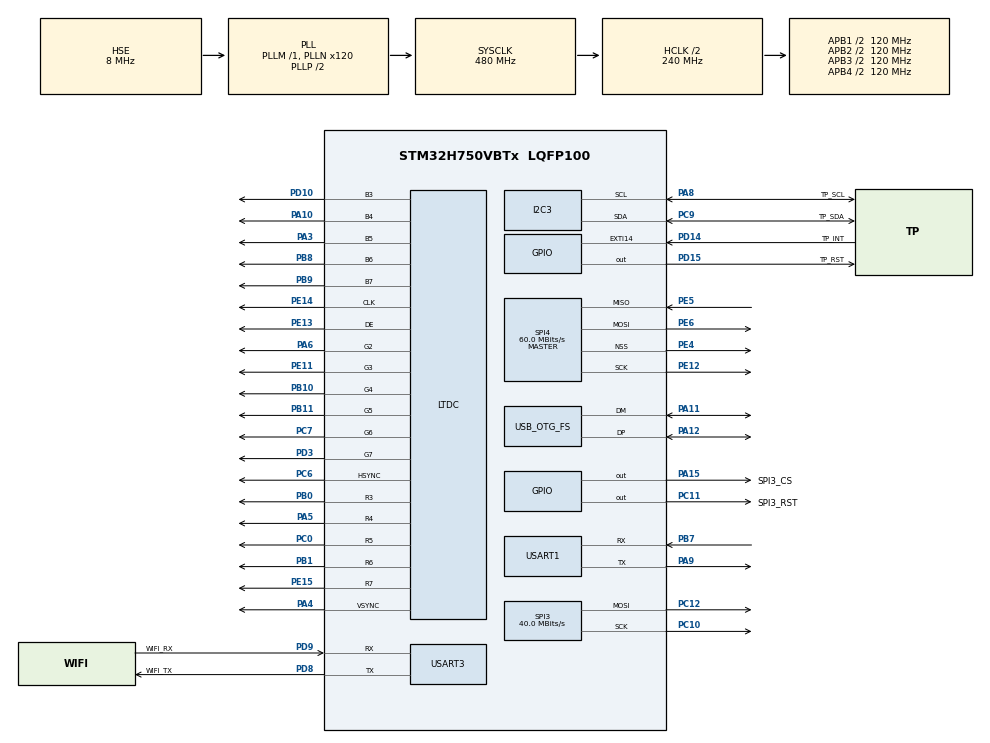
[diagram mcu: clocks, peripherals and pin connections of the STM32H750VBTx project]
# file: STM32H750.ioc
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CORTEX_M7.AccessPermission_S-Cortex_Memory_Protection_Unit_Region1_Settings_S=MPU_REGION_PRIV_RO
CORTEX_M7.BaseAddress_S-Cortex_Memory_Protection_Unit_Region1_Settings_S=0x08000000
CORTEX_M7.Enable_S-Cortex_Memory_Protection_Unit_Region1_Settings_S=MPU_REGION_ENABLE
CORTEX_M7.IsCacheable_S-Cortex_Memory_Protection_Unit_Region1_Settings_S=MPU_ACCESS_CACHEABLE
CORTEX_M7.Number_S-Cortex_Memory_Protection_Unit_Region2_Settings_S=MPU_REGION_NUMBER2
CORTEX_M7.Size_S-Cortex_Memory_Protection_Unit_Region1_Settings_S=MPU_REGION_SIZE_128KB
CORTEX_M7.TypeExtField_S-Cortex_Memory_Protection_Unit_Region1_Settings_S=MPU_TEX_LEVEL1
CORTEX_M7.default_mode_Activation=1
DMA2D.ColorMode=DMA2D_OUTPUT_RGB565
I2C3.Timing=0x307075B1
LTDC.ActiveW=480
LTDC.Alpha_L0=255
LTDC.DEPolarity=LTDC_DEPOLARITY_AL
LTDC.FBStartAdress_L0=0
LTDC.HBP=50
LTDC.HFP=10
LTDC.ImageHeight_L0=480
LTDC.ImageWidth_L0=480
LTDC.Layers=0
LTDC.PixelFormat_L0=LTDC_PIXEL_FORMAT_RGB565
LTDC.VBP=20
LTDC.VFP=10
LTDC.VSync=8
Mcu.Family=STM32H7
Mcu.Name=STM32H750VBTx
Mcu.Package=LQFP100
NVIC.EXTI15_10_IRQn=true\:0\:0\:false\:false\:true\:true\:true\:true
NVIC.I2C3_EV_IRQn=true\:0\:0\:false\:false\:true\:true\:true\:true
NVIC.LTDC_ER_IRQn=true\:5\:0\:true\:false\:true\:true\:true\:true
NVIC.LTDC_IRQn=true\:5\:0\:true\:false\:true\:true\:true\:true
NVIC.OTG_FS_IRQn=true\:0\:0\:false\:false\:true\:false\:true\:true
NVIC.PriorityGroup=NVIC_PRIORITYGROUP_4
NVIC.SPI4_IRQn=true\:0\:0\:false\:false\:true\:true\:true\:true
NVIC.USART1_IRQn=true\:0\:0\:false\:false\:true\:true\:true\:true
NVIC.USART3_IRQn=true\:0\:0\:false\:false\:true\:true\:true\:true
PA10.GPIO_Speed=GPIO_SPEED_FREQ_VERY_HIGH
PA10.Mode=RGB565
PA10.Signal=LTDC_B4
PA11.Mode=Device_Only
PA11.Signal=USB_OTG_FS_DM
PA12.Mode=Device_Only
PA12.Signal=USB_OTG_FS_DP
PA15\ (JTDI).GPIO_Label=SPI3_CS
PA15\ (JTDI).Signal=GPIO_Output
PA3.GPIO_Speed=GPIO_SPEED_FREQ_VERY_HIGH
PA3.Mode=RGB565
PA3.Signal=LTDC_B5
PA4.GPIO_Speed=GPIO_SPEED_FREQ_VERY_HIGH
PA4.Mode=RGB565
PA4.Signal=LTDC_VSYNC
PA5.GPIO_Speed=GPIO_SPEED_FREQ_VERY_HIGH
PA5.Mode=RGB565
PA5.Signal=LTDC_R4
PA6.GPIO_Speed=GPIO_SPEED_FREQ_VERY_HIGH
PA6.Mode=RGB565
PA6.Signal=LTDC_G2
PA8.GPIO_Label=TP_SCL
PA8.Mode=I2C
PA8.Signal=I2C3_SCL
PA9.GPIO_Speed=GPIO_SPEED_FREQ_VERY_HIGH
PA9.Mode=Asynchronous
PA9.Signal=USART1_TX
PB0.GPIO_Speed=GPIO_SPEED_FREQ_VERY_HIGH
PB0.Mode=RGB565
PB0.Signal=LTDC_R3
PB1.GPIO_Speed=GPIO_SPEED_FREQ_VERY_HIGH
PB1.Mode=RGB565
PB1.Signal=LTDC_R6
PB10.GPIO_Speed=GPIO_SPEED_FREQ_VERY_HIGH
PB10.Mode=RGB565
PB10.Signal=LTDC_G4
PB11.GPIO_Speed=GPIO_SPEED_FREQ_VERY_HIGH
PB11.Mode=RGB565
PB11.Signal=LTDC_G5
PB14.Signal=SDMMC2_D0
PB15.Signal=SDMMC2_D1
PB3\ (JTDO/TRACESWO).Signal=SDMMC2_D2
PB4\ (NJTRST).Signal=SDMMC2_D3
PB7.GPIO_Speed=GPIO_SPEED_FREQ_VERY_HIGH
PB7.Mode=Asynchronous
PB7.Signal=USART1_RX
PB8.GPIO_Speed=GPIO_SPEED_FREQ_VERY_HIGH
PB8.Mode=RGB565
PB8.Signal=LTDC_B6
PB9.GPIO_Speed=GPIO_SPEED_FREQ_VERY_HIGH
PB9.Mode=RGB565
PB9.Signal=LTDC_B7
PC0.GPIO_Speed=GPIO_SPEED_FREQ_VERY_HIGH
PC0.Mode=RGB565
PC0.Signal=LTDC_R5
PC1.Signal=SDMMC2_CK
PC10.Mode=TX_Only_Simplex_Unidirect_Master
PC10.Signal=SPI3_SCK
PC11.GPIO_Label=SPI3_RST
PC11.Signal=GPIO_Output
PC12.Mode=TX_Only_Simplex_Unidirect_Master
PC12.Signal=SPI3_MOSI
PC6.GPIO_Speed=GPIO_SPEED_FREQ_VERY_HIGH
PC6.Mode=RGB565
PC6.Signal=LTDC_HSYNC
PC7.GPIO_Speed=GPIO_SPEED_FREQ_VERY_HIGH
PC7.Mode=RGB565
PC7.Signal=LTDC_G6
PC9.GPIO_Label=TP_SDA
PC9.Mode=I2C
PC9.Signal=I2C3_SDA
PD10.GPIO_Speed=GPIO_SPEED_FREQ_VERY_HIGH
PD10.Mode=RGB565
PD10.Signal=LTDC_B3
PD14.GPIO_Label=TP_INT
PD14.Signal=GPXTI14
PD15.GPIO_Label=TP_RST
PD15.Signal=GPIO_Output
PD3.GPIO_Speed=GPIO_SPEED_FREQ_VERY_HIGH
PD3.Mode=RGB565
PD3.Signal=LTDC_G7
PD7.Signal=SDMMC2_CMD
PD8.GPIO_Label=WIFI_TX
PD8.GPIO_Speed=GPIO_SPEED_FREQ_VERY_HIGH
PD8.Mode=Asynchronous
PD8.Signal=USART3_TX
PD9.GPIO_Label=WIFI_RX
PD9.GPIO_Speed=GPIO_SPEED_FREQ_VERY_HIGH
PD9.Mode=Asynchronous
PD9.Signal=USART3_RX
PE11.GPIO_Speed=GPIO_SPEED_FREQ_VERY_HIGH
PE11.Mode=RGB565
PE11.Signal=LTDC_G3
PE12.Mode=Full_Duplex_Master
PE12.Signal=SPI4_SCK
PE13.GPIO_Speed=GPIO_SPEED_FREQ_VERY_HIGH
PE13.Mode=RGB565
PE13.Signal=LTDC_DE
PE14.GPIO_Speed=GPIO_SPEED_FREQ_VERY_HIGH
PE14.Mode=RGB565
PE14.Signal=LTDC_CLK
PE15.GPIO_Speed=GPIO_SPEED_FREQ_VERY_HIGH
PE15.Mode=RGB565
PE15.Signal=LTDC_R7
PE4.Mode=NSS_Signal_Hard_Output
PE4.Signal=SPI4_NSS
PE5.Mode=Full_Duplex_Master
PE5.Signal=SPI4_MISO
PE6.Mode=Full_Duplex_Master
PE6.Signal=SPI4_MOSI
PH0-OSC_IN\ (PH0).Mode=HSE-External-Oscillator
PH0-OSC_IN\ (PH0).Signal=RCC_OSC_IN
PH1-OSC_OUT\ (PH1).Mode=HSE-External-Oscillator
PH1-OSC_OUT\ (PH1).Signal=RCC_OSC_OUT
ProjectManager.HeapSize=0x200
ProjectManager.StackSize=0x400
ProjectManager.TargetToolchain=STM32CubeIDE
RCC.ADCFreq_Value=160000000
RCC.APB1Freq_Value=120000000
RCC.APB2Freq_Value=120000000
RCC.APB3Freq_Value=120000000
RCC.APB4Freq_Value=120000000
RCC.CortexFreq_Value=480000000
RCC.D1PPRE=RCC_APB3_DIV2
RCC.D2PPRE1=RCC_APB1_DIV2
RCC.D2PPRE2=RCC_APB2_DIV2
RCC.D3PPRE=RCC_APB4_DIV2
RCC.DIVM1=1
RCC.DIVM2=1
RCC.DIVM3=1
RCC.DIVN1=120
RCC.DIVN2=20
RCC.DIVN3=20
RCC.DIVP2=1
RCC.DIVQ1=4
RCC.HCLKFreq_Value=240000000
RCC.HPRE=RCC_HCLK_DIV2
RCC.HSE_VALUE=8000000
RCC.PLL2FRACN=0
RCC.PLL3FRACN=0
RCC.PLLFRACN=0
RCC.PLLSourceVirtual=RCC_PLLSOURCE_HSE
RCC.SPI123CLockSelection=RCC_SPI123CLKSOURCE_PLL2
RCC.SYSCLKFreq_VALUE=480000000
RCC.SYSCLKSource=RCC_SYSCLKSOURCE_PLLCLK
RCC.USBCLockSelection=RCC_USBCLKSOURCE_HSI48
RCC.USBFreq_Value=48000000
SPI3.BaudRatePrescaler=SPI_BAUDRATEPRESCALER_4
SPI3.CalculateBaudRate=40.0 MBits/s
SPI3.DataSize=SPI_DATASIZE_9BIT
SPI3.Direction=SPI_DIRECTION_2LINES_TXONLY
SPI3.Mode=SPI_MODE_MASTER
SPI3.VirtualType=VM_MASTER
SPI4.CalculateBaudRate=60.0 MBits/s
SPI4.Direction=SPI_DIRECTION_2LINES
SPI4.Mode=SPI_MODE_MASTER
SPI4.VirtualNSS=VM_NSSHARD
SPI4.VirtualType=VM_MASTER
TIM6.AutoReloadPreload=TIM_AUTORELOAD_PRELOAD_ENABLE
TIM6.Period=1000
TIM6.Prescaler=480-1
USART1.VirtualMode-Asynchronous=VM_ASYNC
USART3.VirtualMode-Asynchronous=VM_ASYNC
USB_DEVICE.CLASS_NAME_FS=CDC
USB_DEVICE.VirtualMode-CDC_FS=Cdc
USB_DEVICE.VirtualModeFS=Cdc_FS
USB_OTG_FS.VirtualMode=Device_Only
VP_DMA2D_VS_DMA2D.Mode=DMA2D_Activate
VP_MEMORYMAP_VS_MEMORYMAP.Mode=CurAppReg
VP_RNG_VS_RNG.Mode=RNG_Activate
VP_TIM6_VS_ClockSourceINT.Mode=Enable_Timer
VP_USB_DEVICE_VS_USB_DEVICE_CDC_FS.Mode=CDC_FS
board=custom

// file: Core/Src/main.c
/* USER CODE BEGIN Header */
/**
  ******************************************************************************
  * @file           : main.c
  * @brief          : Main program body
  ******************************************************************************
  * @attention
  *
  * Copyright (c) 2025 STMicroelectronics.
  * All rights reserved.
  *
  * This software is licensed under terms that can be found in the LICENSE file
  * in the root directory of this software component.
  * If no LICENSE file comes with this software, it is provided AS-IS.
  *
  ******************************************************************************
  */
/* USER CODE END Header */
#include "main.h"
#include "dma2d.h"
#include "i2c.h"
#include "ltdc.h"
#include "memorymap.h"
#include "rng.h"
#include "spi.h"
#include "tim.h"
#include "usart.h"
#include "usb_device.h"
#include "gpio.h"

/* USER CODE BEGIN Includes */
#include "Retarget.h"
#include "gt911.h"
#include "lcd.h"
#include "st7701.h"
/* USER CODE END Includes */

void SystemClock_Config(void);
static void MPU_Config(void);

int main(void)
{

  /* MPU Configuration--------------------------------------------------------*/
  MPU_Config();

  /* MCU Configuration--------------------------------------------------------*/

  /* Reset of all peripherals, Initializes the Flash interface and the Systick. */
  HAL_Init();

  /* Configure the system clock */
  SystemClock_Config();

  /* Initialize all configured peripherals */
  MX_GPIO_Init();
  MX_DMA2D_Init();
  MX_LTDC_Init();
  MX_SPI3_Init();
  MX_SPI4_Init();
  MX_USART1_UART_Init();
  MX_USB_DEVICE_Init();
  MX_I2C3_Init();
  MX_USART3_UART_Init();
  MX_TIM6_Init();
  MX_RNG_Init();
  /* USER CODE BEGIN 2 */

  RetargetInit(&huart1);
  printf("[SYS] UART ready\r\n");
  printf("Hello STM32H7!\r\n");

  printf("[LCD] ST7701 init...\r\n");
  if (!st7701Init())
  {
    printf("[LCD][ERROR] ST7701 init failed\r\n");
    Error_Handler();
  }
  printf("[LCD] ST7701 init done\r\n");

  printf("[TP] GT911 init...\r\n");
  if (!gt911Init())
  {
    printf("[TP][ERROR] GT911 init failed\r\n");
  }
  else
  {
    printf("[TP] GT911 init done\r\n");
  }

  printf("[LTDC] Framebuffer @%p\r\n", ltdc_lcd_framebuf);
  // HAL_LTDC_SetAddress(&hltdc, (uint32_t) ltdc_lcd_framebuf, 0);
  // HAL_LTDC_SetWindowPosition(&hltdc, 0, 0, 0);
  // HAL_LTDC_SetWindowSize(&hltdc, 480, 480, 0);
  printf("[LTDC] Window configured 480x480\r\n");

  printf("[LCD] Clearing screen...\r\n");
  // LCD_Clear(RED);
  printf("[LCD] Clear complete\r\n");

  /* USER CODE END 2 */

  /* Infinite loop */
  while (1)
  {

  }
}

void SystemClock_Config(void)
{
  RCC_OscInitTypeDef RCC_OscInitStruct = {0};
  RCC_ClkInitTypeDef RCC_ClkInitStruct = {0};

  /** Supply configuration update enable
  */
  HAL_PWREx_ConfigSupply(PWR_LDO_SUPPLY);

  /** Configure the main internal regulator output voltage
  */
  __HAL_PWR_VOLTAGESCALING_CONFIG(PWR_REGULATOR_VOLTAGE_SCALE0);

  while(!__HAL_PWR_GET_FLAG(PWR_FLAG_VOSRDY)) {}

  /** Initializes the RCC Oscillators according to the specified parameters
  * in the RCC_OscInitTypeDef structure.
  */
  RCC_OscInitStruct.OscillatorType = RCC_OSCILLATORTYPE_HSI48|RCC_OSCILLATORTYPE_HSE;
  RCC_OscInitStruct.HSEState = RCC_HSE_ON;
  RCC_OscInitStruct.HSI48State = RCC_HSI48_ON;
  RCC_OscInitStruct.PLL.PLLState = RCC_PLL_ON;
  RCC_OscInitStruct.PLL.PLLSource = RCC_PLLSOURCE_HSE;
  RCC_OscInitStruct.PLL.PLLM = 1;
  RCC_OscInitStruct.PLL.PLLN = 120;
  RCC_OscInitStruct.PLL.PLLP = 2;
  RCC_OscInitStruct.PLL.PLLQ = 4;
  RCC_OscInitStruct.PLL.PLLR = 2;
  RCC_OscInitStruct.PLL.PLLRGE = RCC_PLL1VCIRANGE_3;
  RCC_OscInitStruct.PLL.PLLVCOSEL = RCC_PLL1VCOWIDE;
  RCC_OscInitStruct.PLL.PLLFRACN = 0;
  if (HAL_RCC_OscConfig(&RCC_OscInitStruct) != HAL_OK)
  {
    Error_Handler();
  }

  /** Initializes the CPU, AHB and APB buses clocks
  */
  RCC_ClkInitStruct.ClockType = RCC_CLOCKTYPE_HCLK|RCC_CLOCKTYPE_SYSCLK
                              |RCC_CLOCKTYPE_PCLK1|RCC_CLOCKTYPE_PCLK2
                              |RCC_CLOCKTYPE_D3PCLK1|RCC_CLOCKTYPE_D1PCLK1;
  RCC_ClkInitStruct.SYSCLKSource = RCC_SYSCLKSOURCE_PLLCLK;
  RCC_ClkInitStruct.SYSCLKDivider = RCC_SYSCLK_DIV1;
  RCC_ClkInitStruct.AHBCLKDivider = RCC_HCLK_DIV2;
  RCC_ClkInitStruct.APB3CLKDivider = RCC_APB3_DIV2;
  RCC_ClkInitStruct.APB1CLKDivider = RCC_APB1_DIV2;
  RCC_ClkInitStruct.APB2CLKDivider = RCC_APB2_DIV2;
  RCC_ClkInitStruct.APB4CLKDivider = RCC_APB4_DIV2;

  if (HAL_RCC_ClockConfig(&RCC_ClkInitStruct, FLASH_LATENCY_4) != HAL_OK)
  {
    Error_Handler();
  }
}

 /* MPU Configuration */

void MPU_Config(void)
{
  MPU_Region_InitTypeDef MPU_InitStruct = {0};

  /* Disables the MPU */
  HAL_MPU_Disable();

  /** Initializes and configures the Region and the memory to be protected
  */
  MPU_InitStruct.Enable = MPU_REGION_ENABLE;
  MPU_InitStruct.Number = MPU_REGION_NUMBER0;
  MPU_InitStruct.BaseAddress = 0x0;
  MPU_InitStruct.Size = MPU_REGION_SIZE_4GB;
  MPU_InitStruct.SubRegionDisable = 0x87;
  MPU_InitStruct.TypeExtField = MPU_TEX_LEVEL0;
  MPU_InitStruct.AccessPermission = MPU_REGION_NO_ACCESS;
  MPU_InitStruct.DisableExec = MPU_INSTRUCTION_ACCESS_DISABLE;
  MPU_InitStruct.IsShareable = MPU_ACCESS_SHAREABLE;
  MPU_InitStruct.IsCacheable = MPU_ACCESS_NOT_CACHEABLE;
  MPU_InitStruct.IsBufferable = MPU_ACCESS_NOT_BUFFERABLE;

  HAL_MPU_ConfigRegion(&MPU_InitStruct);

  /** Initializes and configures the Region and the memory to be protected
  */
  MPU_InitStruct.Number = MPU_REGION_NUMBER1;
  MPU_InitStruct.BaseAddress = 0x08000000;
  MPU_InitStruct.Size = MPU_REGION_SIZE_128KB;
  MPU_InitStruct.SubRegionDisable = 0x0;
  MPU_InitStruct.TypeExtField = MPU_TEX_LEVEL1;
  MPU_InitStruct.AccessPermission = MPU_REGION_PRIV_RO;
  MPU_InitStruct.DisableExec = MPU_INSTRUCTION_ACCESS_ENABLE;
  MPU_InitStruct.IsShareable = MPU_ACCESS_NOT_SHAREABLE;
  MPU_InitStruct.IsCacheable = MPU_ACCESS_CACHEABLE;

  HAL_MPU_ConfigRegion(&MPU_InitStruct);
  /* Enables the MPU */
  HAL_MPU_Enable(MPU_PRIVILEGED_DEFAULT);

}

void Error_Handler(void)
{
  __disable_irq();
  while (1)
  {
  }
}
